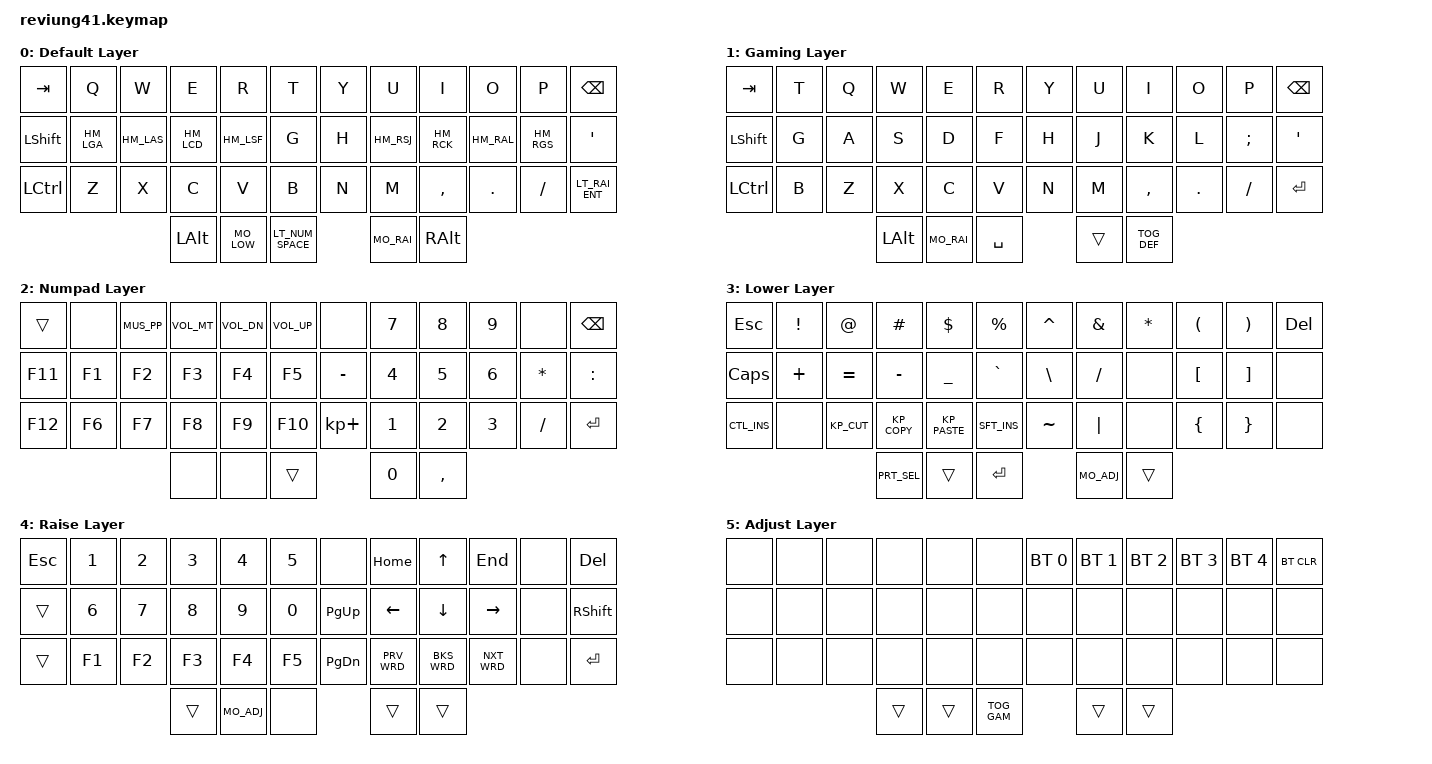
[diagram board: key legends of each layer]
/*
 * Copyright (c) 2020 The ZMK Contributors
 *
 * SPDX-License-Identifier: MIT
 */

#include <behaviors.dtsi>
#include <dt-bindings/zmk/keys.h>
#include <dt-bindings/zmk/bt.h>
// #include <dt-bindings/zmk/rgb.h>
// #include <dt-bindings/zmk/ext_power.h>

// layers
#define L_DEF  0
#define L_GAM  1
#define L_NUM  2
#define L_LOW  3
#define L_RAI  4
#define L_ADJ  5

// layer activation
#define MO_LOW mo L_LOW
#define MO_RAI mo L_RAI
#define MO_ADJ mo L_ADJ
#define TOG_DEF rgb_default_layer
#define TOG_GAM rgb_gaming_layer
#define LT_NUM_SPACE lt L_NUM SPACE
#define LT_RAI_ENT lt L_RAI RET

// Shortcuts
#define PRT_SEL kp LS(LG(S))   // Shift + Win + S : print screen with selection
#define PRV_WRD kp LC(LEFT)    // previous word
#define NXT_WRD kp LC(RIGHT)   // next word
#define BKS_WRD kp LC(BSPC)    // delete previous word
#define SFT_INS kp LS(INS)     // Shift insert, coller dans le terminal
#define CTL_INS kp LC(INS)     // Ctrl insert, Copier le terminal

#define KP_CUT kp LC(X)         // Cut
#define KP_COPY kp LC(C)        // Copy
#define KP_PASTE kp LC(V)       // Paste

// Sound & music
#define VOL_UP kp C_VOL_UP
#define VOL_DN kp C_VOL_DN
#define VOL_MT kp C_MUTE
#define MUS_PP kp C_PLAY_PAUSE

// RGB
// #define TOG_RGB rgb_ug RGB_TOG    // toggle on/off
// #define RGB_BRIU rgb_ug RGB_BRI   // Light up
// #define RGB_BRID rgb_ug RGB_BRD   // Light down
// #define RGB_SATU rgb_ug RGB_SAI   // Saturation up
// #define RGB_SATD rgb_ug RGB_SAD   // Saturation down
// #define RGB_HUEU rgb_ug RGB_HUI   // Hue up
// #define RGB_HUED rgb_ug RGB_HUD   // Hue down
// #define RGB_EFFN rgb_ug RGB_EFF   // Next effect
// #define RGB_EFFP rgb_ug RGB_EFR   // Previous effect:A

// RGB color
// #define RGB_PURPLE RGB_COLOR_HSB(270,100,100)
// #define RGB_CYAN RGB_COLOR_HSB(200,100,100)
// #define RGB_GREEN RGB_COLOR_HSB(120,100,100)
// #define RGB_RED RGB_COLOR_HSB(0,100,100)
// #define RGB_ROSE RGB_COLOR_HSB(300,100,100)

// External power
//#define TOG_EXT_PWR ext_power EP_TOG

// right home row mods
#define HM_RSJ hm RGUI J  // win or J
#define HM_RCK hm RALT K   // alt or K
#define HM_RAL hm RCTRL L    // ctrl or L
#define HM_RGS hm RSHIFT SEMI // shift or ;

// left home row mods
#define HM_LGA hm LSHIFT A    // shift or A
#define HM_LAS hm LCTRL S    // ctrl or S
#define HM_LCD hm LALT D   // alt or D
#define HM_LSF hm LGUI F  // win or F

/ {
        behaviors {
                hm: homerow_mods {
                        compatible = "zmk,behavior-hold-tap";
                        label = "HOMEROW_MODS";
                        #binding-cells = <2>;
                        tapping-term-ms = <200>;
                        quick-tap-ms = <0>;
                        flavor = "tap-preferred";
                        bindings = <&kp>, <&kp>;
                };
        };

        combos {
                compatible = "zmk,combos";

                // multiple keys
                combo_CSV {
                        layers = <L_DEF>;
                        timeout-ms = <50>;
                        key-positions = <26 27 28>; // XCV
                        bindings = <&kp LC(LS(V))>;
                };
                combo_CtrlAltDel {
                        layers = <L_DEF>;
                        timeout-ms = <50>;
                        key-positions = <13 14 27>; // CAS
                        bindings = <&kp LC(LA(DEL))>; // Ctrl + Alt + Del
                };
                combo_ESC {
                        layers = <L_DEF>;
                        timeout-ms = <50>;
                        key-positions = <0 1>; // Tab + Q
                        bindings = <&kp ESC>; // ESCAPE
                };

                // accents
                combo_ecute {
                        layers = <L_DEF>;
                        timeout-ms = <50>;
                        key-positions = <2 3>; // WE
                        bindings = <&ecute>;    // é
                };
                combo_egrave {
                        layers = <L_DEF>;
                        timeout-ms = <50>;
                        key-positions = <3 4>; // ER
                        bindings = <&egrave>;   // è
                };
                combo_ecirc {
                        layers = <L_DEF>;
                        timeout-ms = <50>;
                        key-positions = <2 3 4>; // WER
                        bindings = <&ecirc>;    // ê
                };
                combo_agrave {
                        layers = <L_DEF>;
                        timeout-ms = <50>;
                        key-positions = <13 14>; // AS
                        bindings = <&agrave>;   // à
                };
                combo_acirc {
                        layers = <L_DEF>;
                        timeout-ms = <50>;
                        key-positions = <12 13 14>; // shift AS
                        bindings = <&acirc>;    // â
                };
                combo_ugrave {
                        layers = <L_DEF>;
                        timeout-ms = <50>; 
                        key-positions = <7 8>; // UI
                        bindings = <&ugrave>;   // où
                };

                // Apostrophe with space
                combo_apostrophe {
                        layers = <L_DEF>;
                        timeout-ms = <50>;
                        key-positions = <8 19>; // JI
                        bindings = <&apost>;
                };

                combo_arrow {
                        layers = <L_DEF>;
                        timeout-ms = <50>;
                        key-positions = <32 33>; // ,.
                        bindings = <&arrow>;
                };
        };

        macros {
                // accents
                ecute: ecute {
                        label = "é";
                        compatible = "zmk,behavior-macro";
                        #binding-cells = <0>;
                        tap-ms = <10>;
                        bindings = <&macro_tap &kp SQT>, <&macro_tap &kp E>;
                };
                egrave: egrave {
                        label = "è";
                        compatible = "zmk,behavior-macro";
                        #binding-cells = <0>;
                        tap-ms = <10>;
                        bindings = <&macro_tap &kp GRAVE>, <&macro_tap &kp E>;
                };
                ecirc: ecirc {
                        label = "ê";
                        compatible = "zmk,behavior-macro";
                        #binding-cells = <0>;
                        tap-ms = <10>;
                        bindings = <&macro_tap &kp CARET>, <&macro_tap &kp E>;
                };
                agrave: agrave {
                        label = "à";
                        compatible = "zmk,behavior-macro";
                        #binding-cells = <0>;
                        tap-ms = <10>;
                        bindings = <&macro_tap &kp GRAVE>, <&macro_tap &kp A>;
                };
                acirc: acirc {
                        label = "â";
                        compatible = "zmk,behavior-macro";
                        #binding-cells = <0>;
                        tap-ms = <10>;
                        bindings = <&macro_tap &kp CARET>, <&macro_tap &kp A>;
                };
                ugrave: ugrave{
                        label = "où";
                        compatible = "zmk,behavior-macro";
                        #binding-cells = <0>;
                        tap-ms = <10>;
                        bindings = <&macro_tap &kp O>, <&macro_tap &kp GRAVE>, <&macro_tap &kp U>;
                };
                apost: apost {
                        label = "'";
                        compatible = "zmk,behavior-macro";
                        #binding-cells = <0>;
                        tap-ms = <10>;
                        bindings = <&macro_tap &kp SQT>, <&macro_tap &kp SPACE>;
                };

                // à ne pas reproduire, trop instable :
                // c' -> trop instable et perte de temps
                // déjà -> instable, ça m'écrit bien souvent djéà
        
                arrow: arrow{
                        label = "->";
                        compatible = "zmk,behavior-macro";
                        #binding-cells = <0>;
                        tap-ms = <0>;
                        bindings = <&kp MINUS &kp GREATER_THAN>;
                };

                // shortcuts

                // macro RGB layer
                rgb_gaming_layer: rgb_gaming_layer{
                        label = "Change layer to gaming and color to blue";
                        compatible = "zmk,behavior-macro";
                        #binding-cells = <0>;
                        bindings = <&macro_tap &tog L_GAM> ; // <&macro_tap &rgb_ug RGB_CYAN>, bleu ciel
                };
                rgb_default_layer: rgb_default_layer{
                        label = "Deactivate Gaming and return to default";
                        compatible = "zmk,behavior-macro";
                        #binding-cells = <0>;
                        bindings = <&macro_tap &tog L_GAM> ; // <&macro_tap &rgb_ug RGB_PURPLE>,  orange
                };
        };

        keymap {
                compatible = "zmk,keymap";

// Key ID for Combo
// ------------------------------------------------------------------
// |  0 |  1 |  2 |  3 |  4 |  5 |    |  6 |  7 |  8 |  9 | 10 | 11 |
// | 12 | 13 | 14 | 15 | 16 | 17 |    | 18 | 19 | 20 | 21 | 22 | 23 |
// | 24 | 25 | 26 | 27 | 28 | 29 |    | 30 | 31 | 32 | 33 | 34 | 35 |
//                     | 36 | 37 | 38 | 39 | 40 |

                default_layer {
                        display-name = "Default Layer";
// ----------------------------------- Default -----------------------------------------
// |  TAB |  Q  |  W  |  E  |  R  |  T  |    |  Y  |  U  |  I  |  O  |  P  |   BKSP    |
// | SHFT |  A  |  S  |  D  |  F  |  G  |    |  H  |  J  |  K  |  L  |  ;  |    '      |
// | CTRL |  Z  |  X  |  C  |  V  |  B  |    |  N  |  M  |  ,  |  .  |  /  |  Return   |
//                       | LALT | LWR | NUM_SPC | RSE  | RALT |

                        bindings = <
   &kp TAB   &kp Q   &kp W   &kp E   &kp R   &kp T     &kp Y &kp U   &kp I     &kp O   &kp P    &kp BSPC
   &kp LSHFT &HM_LGA &HM_LAS &HM_LCD &HM_LSF &kp G     &kp H &HM_RSJ &HM_RCK   &HM_RAL &HM_RGS  &kp SQT
   &kp LCTRL &kp Z   &kp X   &kp C   &kp V   &kp B     &kp N &kp M   &kp COMMA &kp DOT &kp FSLH &LT_RAI_ENT
                          &kp LALT  &MO_LOW  &LT_NUM_SPACE  &MO_RAI  &kp RALT
                        >;
                };

                gaming_layer {
                        display-name = "Gaming Layer";
// ------------------------------------- Gaming ----------------------------------------
// |  TAB |  T  |  Q  |  W  |  E  |  R  |    |  Y  |  U  |  I  |  O  |  P  |   BKSP    |
// | SHFT |  G  |  A  |  S  |  D  |  F  |    |  H  |  J  |  K  |  L  |  ;  |    '      |
// | CTRL |  B  |  Z  |  X  |  C  |  V  |    |  N  |  M  |  ,  |  .  |  /  |  Return   |
//                         | ALT | RSE | SPC |     |DEF_LAYER|

                        bindings = <
   &kp TAB   &kp T &kp Q &kp W &kp E &kp R    &kp Y &kp U  &kp I     &kp O   &kp P    &kp BSPC
   &kp LSHFT &kp G &kp A &kp S &kp D &kp F    &kp H &kp J  &kp K     &kp L   &kp SEMI &kp SQT
   &kp LCTRL &kp B &kp Z &kp X &kp C &kp V    &kp N &kp M  &kp COMMA &kp DOT &kp FSLH &kp RET
                     &kp LALT  &MO_RAI  &kp SPACE  &trans  &TOG_DEF
                        >;
                };

                numpad_layer {
                        display-name = "Numpad Layer";
// ------------------------------------ Numpad -----------------------------------
// |     |     |MusPs| Mute|Vol -|Vol +|    |    |  7  |  8  |  9  |     |  BKSP |
// | F11 | F1  | F2  | F3  | F4  | F5  |    | -  |  4  |  5  |  6  |  *  |   :   |
// | F12 | F6  | F7  | F8  | F9  | F10 |    |  + |  1  |  2  |  3  |  /  |  RET  |
//                        |     |     |      | 0  |  ,  |

                        bindings = <
   &trans   &none   &MUS_PP &VOL_MT &VOL_DN &VOL_UP    &none        &kp N7 &kp N8 &kp N9  &none     &kp BSPC
   &kp F11  &kp F1  &kp F2  &kp F3  &kp F4  &kp F5     &kp MINUS    &kp N4 &kp N5 &kp N6  &kp ASTRK &kp COLON
   &kp F12  &kp F6  &kp F7  &kp F8  &kp F9  &kp F10    &kp KP_PLUS  &kp N1 &kp N2 &kp N3  &kp FSLH  &kp RET
                                   &none  &none   &trans   &kp N0  &kp COMMA
                        >;
                };

                lower_layer {
                        display-name = "Lower Layer";
// ----------------------------------- Lower -----------------------------------
// |ESC  |  !  |  @  |  #  |  $  |  %  |    |  ^  |  &  |  *  |  (  |  )  | DEL |
// |CAPS |  +  |  =  |  -  |  _  |  `  |    |  \  |  /  |     |  [  |  ]  |     | 
// |CopTr|     | Cut |Copy |Paste|PasTr|    |  ~  |  |  |     |  {  |  }  |     |    // CopTr = Copy Terminal, PasTr = Paste Terminal
//                       |Prnt1|     |  RET | ADJ |     |

                        bindings = <
   &kp ESC  &kp EXCL &kp AT    &kp HASH   &kp DLLR   &kp PRCNT      &kp CARET &kp AMPS &kp ASTRK &kp LPAR  &kp RPAR  &kp DEL
   &kp CLCK &kp PLUS &kp EQUAL &kp MINUS  &kp UNDER  &kp GRAVE      &kp BSLH  &kp FSLH &none     &kp LBKT  &kp RBKT  &none
   &CTL_INS &none   &KP_CUT   &KP_COPY   &KP_PASTE  &SFT_INS       &kp TILDE &kp PIPE &none     &kp LBRC  &kp RBRC  &none
                                       &PRT_SEL  &trans    &kp RET    &MO_ADJ   &trans
                        >;
                };

                raise_layer {
                        display-name = "Raise Layer";
// ----------------------------------- Raise ------------------------------------
// |ESC |  1  |  2  |  3  |  4  |  5  |    |     |  HOME  |   UP    |  END  |     | DEL  |
// |    |  6  |  7  |  8  |  9  |  0  |    | PGUP|  LEFT  |  DOWN   | RIGHT |     | SHFT |
// |    | F1  | F2  | F3  | F4  | F5  |    | PGDN| PrvWrd | DlPrvWr | NxtWrd|     | RET  |
//                       |     | ADJ |      |    |     |

                        bindings = <
   &kp ESC &kp N1  &kp N2  &kp N3  &kp N4  &kp N5        &none      &kp HOME  &kp UP    &kp END   &none &kp DEL
   &trans  &kp N6  &kp N7  &kp N8  &kp N9  &kp N0        &kp PG_UP  &kp LEFT  &kp DOWN  &kp RIGHT &none &kp RSHFT
   &trans  &kp F1  &kp F2  &kp F3  &kp F4  &kp F5        &kp PG_DN  &PRV_WRD  &BKS_WRD  &NXT_WRD  &none &kp RET
                              &trans    &MO_ADJ    &none     &trans    &trans
                        >;
                };

                adjust_layer {
                        display-name = "Adjust Layer";
// -------------------------------------------- Adjust -----------------------------------------------------
// |      |      |      |      |       |       |    |  BT1  | BT2 | BT3 | BT4 | BT5 | BT CLR |
// |      |      |      |      |       |       |    |       |     |     |     |     |        |
// |      |      |      |      |       |       |    |       |     |     |     |     |        |
//                                  |    |    |GAMING|    |    |

                        bindings = <
   &none  &none  &none  &none  &none  &none          &bt BT_SEL 0 &bt BT_SEL 1 &bt BT_SEL 2 &bt BT_SEL 3 &bt BT_SEL 4 &bt BT_CLR
   &none  &none  &none  &none  &none  &none          &none        &none        &none        &none        &none        &none
   &none  &none  &none  &none  &none  &none          &none        &none        &none        &none        &none        &none
                          &trans   &trans    &TOG_GAM     &trans     &trans
                        >;
                };
        };
};
